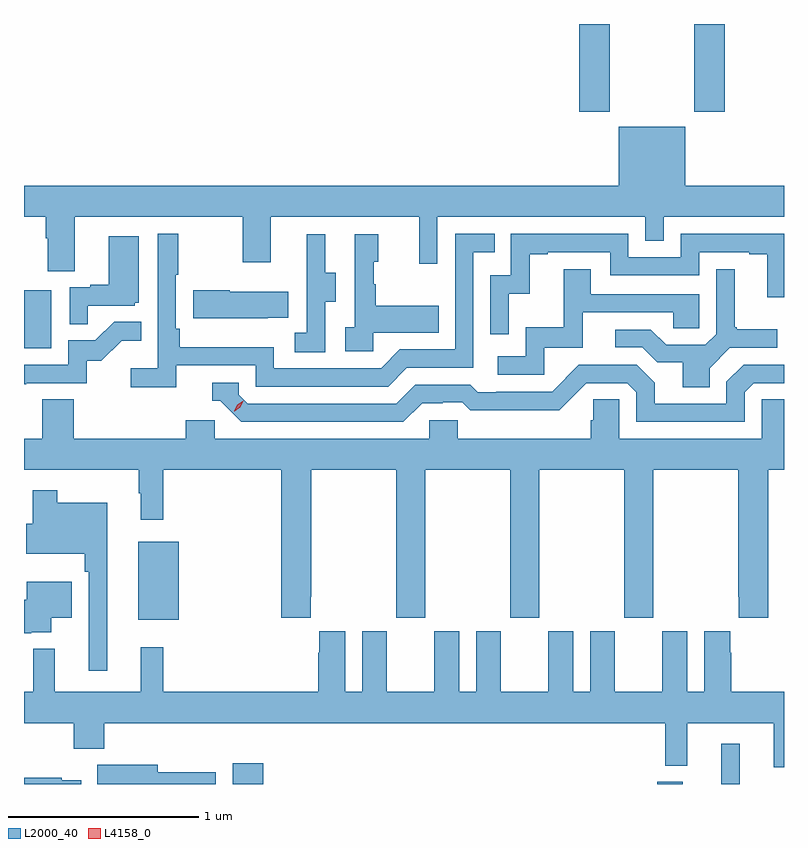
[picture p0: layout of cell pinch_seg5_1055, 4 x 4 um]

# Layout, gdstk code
import gdstk
lib = gdstk.Library(unit=1e-6, precision=1e-09)
def R(c, l, rs):  # rectangles x0, y0, x1, y1
    for r in rs: c.add(gdstk.rectangle(r[:2], r[2:], *l))
def P(c, l, *ps):  # polygons
    for p in ps: c.add(gdstk.Polygon(p, *l))
L2000_40 = (2000, 40)
L4158_0 = (4158, 0)

pinch_seg5_1055 = lib.new_cell('pinch_seg5_1055')
R(pinch_seg5_1055, L2000_40, [(868.847,869.759,869.008,869.869), (871.082,869.759,871.216,869.77), (871.419,869.759,871.516,869.971), (868.349,870.623,868.564,871.033), (867.749,872.052,867.892,872.359), (870.671,873.297,870.831,873.759), (871.276,873.297,871.436,873.759)])
P(pinch_seg5_1055, L2000_40, [(868.015,872.744),(868.9,872.744),(868.9,872.505),(869.047,872.505),(869.047,872.744),(869.828,872.744),(869.828,872.496),(869.925,872.496),(869.925,872.744),(871.02,872.744),(871.02,872.617),(871.116,872.617),(871.116,872.744),(871.749,872.744),(871.749,872.908),(871.228,872.908),(871.228,873.217),(870.878,873.217),(870.878,872.908),(867.749,872.908),(867.749,872.744),(867.863,872.744),(867.863,872.632),(867.875,872.632),(867.875,872.458),(868.015,872.458)],
  [(868.55,871.962),(868.968,871.962),(868.968,871.851),(869.665,871.851),(869.764,871.95),(870.114,871.95),(870.114,872.559),(870.227,872.559),(870.227,872.655),(870.018,872.655),(870.018,872.046),(869.727,872.046),(869.628,871.947),(869.064,871.947),(869.064,872.059),(868.568,872.059),(868.568,872.155),(868.548,872.155),(868.548,872.44),(868.561,872.44),(868.561,872.656),(868.452,872.656),(868.452,871.948),(868.311,871.948),(868.311,871.846),(868.55,871.846)],
  [(870.3,872.339),(870.41,872.339),(870.41,872.547),(870.505,872.547),(870.505,872.559),(870.834,872.559),(870.834,872.436),(871.302,872.436),(871.302,872.559),(871.565,872.559),(871.565,872.547),(871.661,872.547),(871.661,872.321),(871.749,872.321),(871.749,872.655),(871.206,872.655),(871.206,872.532),(870.93,872.532),(870.93,872.655),(870.312,872.655),(870.312,872.436),(870.204,872.436),(870.204,872.127),(870.3,872.127)],
  [(869.334,872.296),(869.389,872.296),(869.389,872.451),(869.335,872.451),(869.335,872.653),(869.237,872.653),(869.237,872.439),(869.238,872.439),(869.238,872.135),(869.175,872.135),(869.175,872.032),(869.334,872.032)],
  [(869.586,872.135),(869.933,872.135),(869.933,872.275),(869.599,872.275),(869.599,872.39),(869.589,872.39),(869.589,872.508),(869.614,872.508),(869.614,872.653),(869.49,872.653),(869.49,872.162),(869.439,872.162),(869.439,872.037),(869.586,872.037)],
  [(868.085,872.277),(868.332,872.277),(868.332,872.292),(868.354,872.292),(868.354,872.641),(868.196,872.641),(868.196,872.386),(868.097,872.386),(868.097,872.373),(867.99,872.373),(867.99,872.179),(868.085,872.179)],
  [(871.357,871.948),(871.464,872.055),(871.714,872.055),(871.714,872.152),(871.501,872.152),(871.501,872.164),(871.489,872.164),(871.489,872.467),(871.392,872.467),(871.392,872.127),(871.335,872.07),(871.129,872.07),(871.048,872.151),(870.861,872.151),(870.861,872.058),(871.002,872.058),(871.082,871.978),(871.217,871.978),(871.217,871.846),(871.357,871.846)],
  [(870.486,872.055),(870.691,872.055),(870.691,872.241),(871.165,872.241),(871.165,872.157),(871.302,872.157),(871.302,872.337),(870.733,872.337),(870.733,872.467),(870.589,872.467),(870.589,872.164),(870.39,872.164),(870.39,872.01),(870.243,872.01),(870.243,871.914),(870.486,871.914)],
  [(869.033,872.213),(869.141,872.213),(869.141,872.35),(868.831,872.35),(868.831,872.358),(868.64,872.358),(868.64,872.21),(869.033,872.21)],
  [(867.761,871.869),(868.08,871.869),(868.08,871.986),(868.156,871.986),(868.263,872.093),(868.367,872.093),(868.367,872.192),(868.223,872.192),(868.125,872.094),(867.981,872.094),(867.981,871.965),(867.749,871.965),(867.749,871.864),(867.761,871.864)],
  [(869.845,871.764),(869.952,871.764),(869.952,871.767),(870.055,871.767),(870.097,871.725),(870.33,871.725),(870.33,871.727),(870.566,871.727),(870.708,871.869),(870.924,871.869),(870.972,871.821),(870.972,871.665),(871.542,871.665),(871.542,871.821),(871.59,871.869),(871.749,871.869),(871.749,871.965),(871.536,871.965),(871.446,871.875),(871.446,871.761),(871.069,871.761),(871.069,871.871),(870.975,871.965),(870.669,871.965),(870.528,871.824),(870.235,871.824),(870.235,871.821),(870.136,871.821),(870.097,871.86),(869.808,871.86),(869.709,871.761),(868.926,871.761),(868.878,871.809),(868.878,871.872),(868.739,871.872),(868.739,871.776),(868.782,871.776),(868.893,871.665),(869.746,871.665)],
  [(870.882,871.784),(870.745,871.784),(870.745,871.674),(870.731,871.674),(870.731,871.576),(870.033,871.576),(870.033,871.674),(869.883,871.674),(869.883,871.576),(868.752,871.576),(868.752,871.674),(868.601,871.674),(868.601,871.576),(868.01,871.576),(868.01,871.784),(867.845,871.784),(867.845,871.576),(867.749,871.576),(867.749,871.412),(868.353,871.412),(868.353,871.289),(868.364,871.289),(868.364,871.149),(868.481,871.149),(868.481,871.412),(869.102,871.412),(869.102,870.633),(869.257,870.633),(869.257,870.745),(869.262,870.745),(869.262,871.412),(869.707,871.412),(869.707,870.633),(869.862,870.633),(869.862,871.412),(870.307,871.412),(870.307,870.633),(870.462,870.633),(870.462,871.412),(870.907,871.412),(870.907,870.633),(871.062,870.633),(871.062,871.412),(871.507,871.412),(871.507,870.745),(871.511,870.745),(871.511,870.633),(871.667,870.633),(871.667,871.412),(871.749,871.412),(871.749,871.784),(871.632,871.784),(871.632,871.576),(870.882,871.576)],
  [(868.186,871.24),(867.925,871.24),(867.925,871.306),(867.796,871.306),(867.796,871.129),(867.762,871.129),(867.762,870.971),(868.069,870.971),(868.069,870.875),(868.089,870.875),(868.089,870.354),(868.186,870.354)],
  [(867.788,870.557),(867.892,870.557),(867.892,870.635),(868,870.635),(868,870.823),(867.764,870.823),(867.764,870.728),(867.749,870.728),(867.749,870.552),(867.788,870.552)],
  [(871.749,870.244),(871.472,870.244),(871.472,870.449),(871.465,870.449),(871.465,870.562),(871.328,870.562),(871.328,870.244),(871.24,870.244),(871.24,870.562),(871.109,870.562),(871.109,870.244),(870.859,870.244),(870.859,870.562),(870.728,870.562),(870.728,870.244),(870.64,870.244),(870.64,870.562),(870.509,870.562),(870.509,870.244),(870.259,870.244),(870.259,870.562),(870.128,870.562),(870.128,870.244),(870.04,870.244),(870.04,870.562),(869.909,870.562),(869.909,870.244),(869.659,870.244),(869.659,870.562),(869.528,870.562),(869.528,870.244),(869.44,870.244),(869.44,870.562),(869.303,870.562),(869.303,870.449),(869.297,870.449),(869.297,870.244),(868.481,870.244),(868.481,870.478),(868.364,870.478),(868.364,870.244),(867.911,870.244),(867.911,870.472),(867.798,870.472),(867.798,870.244),(867.749,870.244),(867.749,870.08),(868.012,870.08),(868.012,869.945),(868.172,869.945),(868.172,870.08),(871.123,870.08),(871.123,869.855),(871.241,869.855),(871.241,870.08),(871.694,870.08),(871.694,869.847),(871.749,869.847)],
  [(868.758,869.822),(868.453,869.822),(868.453,869.86),(868.135,869.86),(868.135,869.759),(868.758,869.759)],
  [(868.05,869.779),(867.947,869.779),(867.947,869.791),(867.749,869.791),(867.749,869.759),(868.05,869.759)])
P(pinch_seg5_1055, L4158_0, [(868.856,871.721),(868.856,871.721),(868.872,871.755),(868.903,871.775),(868.903,871.775),(868.903,871.774),(868.887,871.741),(868.857,871.721)])

lib.write_gds('pinch_seg5_1055.gds')
